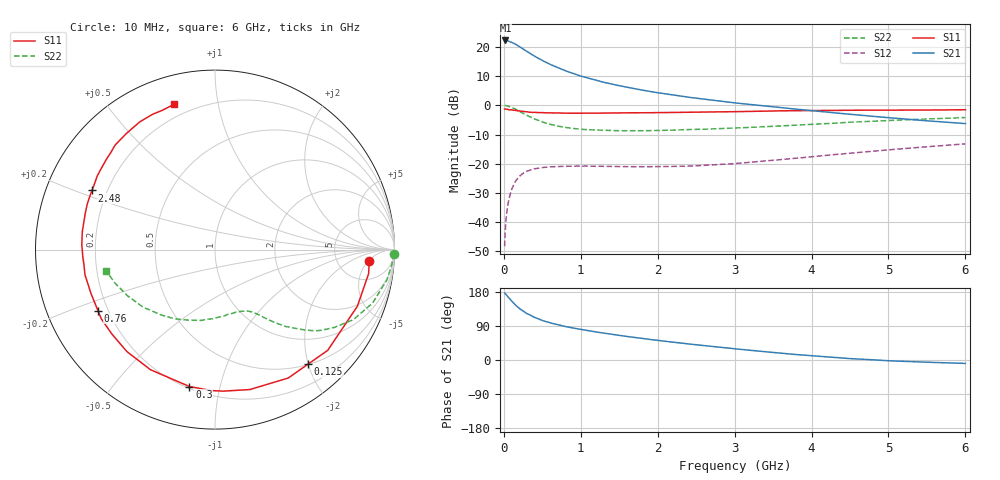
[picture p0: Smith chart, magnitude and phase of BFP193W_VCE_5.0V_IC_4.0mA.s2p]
! Infineon Technologies  Discrete & RF Semiconductors
! BFP193W
! VCE = 5.0 V,  IC =  4.0 mA
! Common Emitter S-Parameters:  Jan 2016
# GHz  S  MA  R  50
!  f  S11  S21  S12  S22
! GHz  MAG  ANG  MAG  ANG  MAG  ANG  MAG  ANG
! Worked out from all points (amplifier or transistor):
!   210 points, 10 MHz to 6 GHz, reference 50 ohm
!   highest |S21| = 22.2 dB at 20 MHz (marker M1)
!   |S21| within 3 dB of that: start of sweep to 255.2 MHz
!   unconditionally stable (mu >= 1): 1.808 GHz to 4.426 GHz
!   at 185 MHz: K = 0.12, MSG = 22.6 dB, |S12| = -24.8 dB
!   at 1.52 GHz: K = 0.86, MSG = 13.8 dB, |S12| = -21.0 dB
!   at 6 GHz: K = 0.91, MSG = 3.5 dB, |S12| = -13.2 dB
!   S11 on the Smith chart (normalised r, x): 10 MHz: 11, -5; 125 MHz: 0.51, -2.00; 300 MHz: 0.21, -0.81; 760 MHz: 0.16, -0.24; 2.48 GHz: 0.14, +0.22; 6 GHz: 0.14, +0.75
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0.01  0.8616 -4.3  12.81 176.7  0.0039 89.5  0.9972 -1.3
0.02  0.8664 -8.9  12.86 175.0  0.0079 84.9  0.9901 -4.2
0.05  0.8537 -21.7  12.68 167.6  0.0192 78.8  0.9725 -10.0
0.1  0.8423 -41.8  12 155.9  0.036 68.1  0.927 -18.8
0.125  0.8222 -50.9  11.53 150.7  0.0429 63.0  0.8931 -22.7
0.15  0.8237 -60.3  11.15 145.2  0.05 59.4  0.8637 -26.9
0.2  0.8036 -76.0  10.14 136.3  0.0607 51.8  0.7952 -33.0
0.26  0.7855 -91.6  9.023 127.7  0.0699 44.4  0.7207 -38.9
0.3  0.776 -100.6  8.323 122.4  0.0747 40.5  0.6724 -41.8
0.4  0.7596 -118.3  6.911 112.2  0.0822 33.1  0.5825 -47.4
0.5  0.7509 -130.9  5.839 104.3  0.0864 28.2  0.5195 -51.0
0.6  0.7424 -140.8  5.019 98.1  0.0887 24.5  0.4738 -53.8
0.76  0.7359 -152.5  4.099 90.3  0.0904 21.1  0.4277 -56.9
0.9  0.733 -160.5  3.503 84.3  0.0913 19.0  0.4025 -59.5
1.02  0.734 -165.7  3.113 80.0  0.0911 18.0  0.3884 -61.9
1.4  0.7396 -179.4  2.312 67.7  0.0902 17.3  0.3709 -69.3
2.02  0.7509 164.1  1.628 51.4  0.0896 22.2  0.3735 -82.6
2.48  0.7606 154.3  1.334 40.7  0.0921 27.8  0.3868 -93.3
3.1  0.7821 142.4  1.068 27.7  0.1034 35.4  0.4139 -107.9
4.1  0.8152 126.0  0.788 9.9  0.1359 41.5  0.479 -132.3
5.1  0.8298 114.0  0.6 -2.7  0.1776 40.7  0.5569 -154.1
6  0.8406 105.9  0.487 -9.0  0.2191 37.0  0.6178 -168.9
